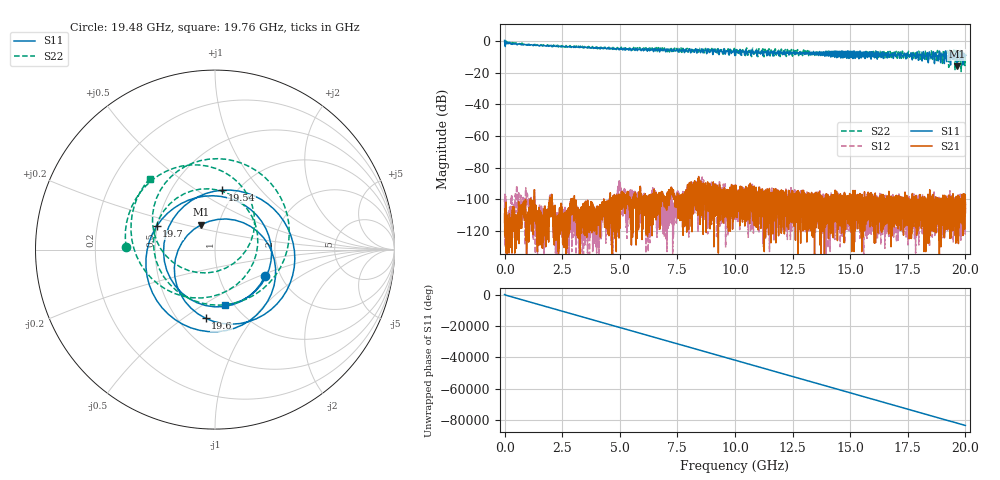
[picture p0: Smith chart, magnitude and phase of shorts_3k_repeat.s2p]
! MS46122B
! 2250307/22442219
! 8/6/2025 7:55:37 AM
! C:\USERS\SPARKY\DOCUMENTS\VNA_DATA\AUGUST6_2025\SHORTS_3K_REPEAT.S2P
! CHANNEL.1
! TR.MEASUREMENT
! RAW.DATA
# GHZ S RI R 50.0
! FREQ.GHZ  S11RE  S11IM  S21RE  S21IM  S12RE  S12IM  S22RE  S22IM
!; PortSelection: Port_12
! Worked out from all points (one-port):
!   10001 points, 1 MHz to 20 GHz, reference 50 ohm
!   lowest |S11| = -16.0 dB at 19.62 GHz (marker M1), VSWR 1.38, Z = 41.3 + j11.8 ohm
!   |S11| at or under -10 dB: 19.17674 GHz to 19.21815 GHz (41.41 MHz wide, 0.216 % of centre); 19.44284 GHz to 19.48499 GHz (42.15 MHz wide, 0.217 % of centre); 19.75645 GHz to 19.80151 GHz (45.06 MHz wide, 0.228 % of centre) (the widest 3 of 49)
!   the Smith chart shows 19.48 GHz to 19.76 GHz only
!   S11 on the Smith chart (normalised r, x): 19.48 GHz: 1.66, -0.54; 19.54 GHz: 0.86, +0.64; 19.6 GHz: 0.68, -0.61; 19.7 GHz: 0.49, +0.15; 19.76 GHz: 0.91, -0.62
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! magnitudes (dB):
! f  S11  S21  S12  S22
! 1 MHz  0.4  -114.3  -101.7  -0.1
! 3.335 GHz  -3.7  -118.3  -109.7  -4.3
! 6.669 GHz  -4.9  -96.7  -100.6  -4.1
! 10 GHz  -8.9  -96.6  -109.0  -6.6
! 13.33 GHz  -7.0  -123.0  -109.1  -6.3
! 16.67 GHz  -7.1  -121.9  -101.7  -8.9
! 18.31 GHz  -8.8  -114.8  -104.6  -10.5
! 18.52 GHz  -9.8  -116.9  -113.1  -6.2
! 18.74 GHz  -9.1  -99.0  -103.0  -12.0
! 18.95 GHz  -9.9  -103.7  -102.1  -7.2
! 19.01 GHz  -9.2  -109.6  -104.1  -14.1
! 19.22 GHz  -10.0  -106.3  -109.9  -6.5
! 19.27 GHz  -9.2  -108.0  -107.9  -16.3
! 19.48 GHz  -10.0  -113.2  -102.2  -6.1
! 19.54 GHz  -9.5  -117.0  -108.0  -13.8
! 19.6 GHz  -8.3  -107.9  -104.2  -5.9
! 19.62 GHz  -16.0  -106.6  -106.0  -7.9
! 19.7 GHz  -9.1  -97.8  -113.3  -12.4
! 19.76 GHz  -10.1  -104.2  -107.8  -5.4
! 19.81 GHz  -8.7  -99.5  -100.3  -15.7
! 19.9 GHz  -14.3  -96.7  -110.5  -9.1
! 20 GHz  -9.2  -101.9  -103.1  -8.1
